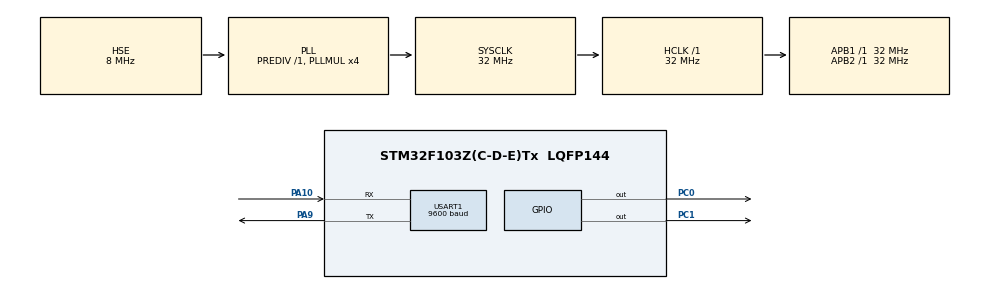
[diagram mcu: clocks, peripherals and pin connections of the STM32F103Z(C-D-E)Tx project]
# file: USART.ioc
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Mcu.Family=STM32F1
Mcu.Name=STM32F103Z(C-D-E)Tx
Mcu.Package=LQFP144
NVIC.PriorityGroup=NVIC_PRIORITYGROUP_4
NVIC.USART1_IRQn=true\:0\:0\:false\:false\:true\:true\:true
OSC_IN.Mode=HSE-External-Oscillator
OSC_IN.Signal=RCC_OSC_IN
OSC_OUT.Mode=HSE-External-Oscillator
OSC_OUT.Signal=RCC_OSC_OUT
PA10.Mode=Asynchronous
PA10.Signal=USART1_RX
PA13.Mode=Serial_Wire
PA13.Signal=SYS_JTMS-SWDIO
PA14.Mode=Serial_Wire
PA14.Signal=SYS_JTCK-SWCLK
PA9.Mode=Asynchronous
PA9.Signal=USART1_TX
PC0.Signal=GPIO_Output
PC1.Signal=GPIO_Output
PC14-OSC32_IN.Mode=LSE-External-Oscillator
PC14-OSC32_IN.Signal=RCC_OSC32_IN
PC15-OSC32_OUT.Mode=LSE-External-Oscillator
PC15-OSC32_OUT.Signal=RCC_OSC32_OUT
ProjectManager.HeapSize=0x200
ProjectManager.StackSize=0x400
ProjectManager.TargetToolchain=MDK-ARM V5.27
RCC.AHBFreq_Value=32000000
RCC.APB1Freq_Value=32000000
RCC.APB1TimFreq_Value=32000000
RCC.APB2Freq_Value=32000000
RCC.APB2TimFreq_Value=32000000
RCC.HCLKFreq_Value=32000000
RCC.PLLMUL=RCC_PLL_MUL4
RCC.PLLSourceVirtual=RCC_PLLSOURCE_HSE
RCC.SYSCLKFreq_VALUE=32000000
RCC.SYSCLKSource=RCC_SYSCLKSOURCE_PLLCLK
RCC.USBFreq_Value=32000000
USART1.BaudRate=9600
USART1.VirtualMode=VM_ASYNC
board=custom

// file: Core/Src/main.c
/* USER CODE BEGIN Header */
/**
  ******************************************************************************
  * @file           : main.c
  * @brief          : Main program body
  ******************************************************************************
  * @attention
  *
  * <h2><center>&copy; Copyright (c) 2020 STMicroelectronics.
  * All rights reserved.</center></h2>
  *
  * This software component is licensed by ST under BSD 3-Clause license,
  * the "License"; You may not use this file except in compliance with the
  * License. You may obtain a copy of the License at:
  *                        opensource.org/licenses/BSD-3-Clause
  *
  ******************************************************************************
  */
/* USER CODE END Header */
#include "main.h"
#include "usart.h"
#include "gpio.h"

/* USER CODE BEGIN Includes */
#define led1_on() HAL_GPIO_WritePin(GPIOC,GPIO_PIN_0,GPIO_PIN_RESET)
#define led1_off() HAL_GPIO_WritePin(GPIOC,GPIO_PIN_0,GPIO_PIN_SET)
#define led2_on() HAL_GPIO_WritePin(GPIOC,GPIO_PIN_1,GPIO_PIN_RESET)
#define led2_off() HAL_GPIO_WritePin(GPIOC,GPIO_PIN_1,GPIO_PIN_SET)

uint8_t tx_str1[]="hello world!\r\n";
uint8_t tx_str2[]="led open!\r\n";
uint8_t tx_str3[]="led off!\r\n";
uint8_t rx_dat=0;
/* USER CODE END Includes */

void SystemClock_Config(void);

/* USER CODE BEGIN 0 */
void HAL_UART_RxCpltCallback(UART_HandleTypeDef *huart)
{
    if(huart->Instance == USART1)
    {
        if(rx_dat == 0xa1)
        {
            led1_on();

          led2_on();
	    HAL_UART_Transmit(&huart1,tx_str2,sizeof(tx_str2),10000);
	    led2_off();
	    HAL_UART_Receive_IT(&huart1,&rx_dat,1);
        }
        else if(rx_dat == 0xa2)
        {
	    led1_off();

	    led2_on();
	    HAL_UART_Transmit(&huart1,tx_str3,sizeof(tx_str3),10000);
	    led2_off();
	    HAL_UART_Receive_IT(&huart1,&rx_dat,1);
        }
    }
}
/* USER CODE END 0 */

int main(void)
{

  /* MCU Configuration--------------------------------------------------------*/

  /* Reset of all peripherals, Initializes the Flash interface and the Systick. */
  HAL_Init();

  /* Configure the system clock */
  SystemClock_Config();

  /* Initialize all configured peripherals */
  MX_GPIO_Init();
  MX_USART1_UART_Init();
  /* USER CODE BEGIN 2 */
	led1_on();
	HAL_UART_Transmit(&huart1,tx_str1,sizeof(tx_str1),10000);
	led1_off();
	HAL_UART_Receive_IT(&huart1,&rx_dat,1);
  /* USER CODE END 2 */

  /* Infinite loop */
  while (1)
  {

  }
}

void SystemClock_Config(void)
{
  RCC_OscInitTypeDef RCC_OscInitStruct = {0};
  RCC_ClkInitTypeDef RCC_ClkInitStruct = {0};

  /** Initializes the RCC Oscillators according to the specified parameters
  * in the RCC_OscInitTypeDef structure.
  */
  RCC_OscInitStruct.OscillatorType = RCC_OSCILLATORTYPE_HSE;
  RCC_OscInitStruct.HSEState = RCC_HSE_ON;
  RCC_OscInitStruct.HSEPredivValue = RCC_HSE_PREDIV_DIV1;
  RCC_OscInitStruct.HSIState = RCC_HSI_ON;
  RCC_OscInitStruct.PLL.PLLState = RCC_PLL_ON;
  RCC_OscInitStruct.PLL.PLLSource = RCC_PLLSOURCE_HSE;
  RCC_OscInitStruct.PLL.PLLMUL = RCC_PLL_MUL4;
  if (HAL_RCC_OscConfig(&RCC_OscInitStruct) != HAL_OK)
  {
    Error_Handler();
  }
  /** Initializes the CPU, AHB and APB buses clocks
  */
  RCC_ClkInitStruct.ClockType = RCC_CLOCKTYPE_HCLK|RCC_CLOCKTYPE_SYSCLK
                              |RCC_CLOCKTYPE_PCLK1|RCC_CLOCKTYPE_PCLK2;
  RCC_ClkInitStruct.SYSCLKSource = RCC_SYSCLKSOURCE_PLLCLK;
  RCC_ClkInitStruct.AHBCLKDivider = RCC_SYSCLK_DIV1;
  RCC_ClkInitStruct.APB1CLKDivider = RCC_HCLK_DIV1;
  RCC_ClkInitStruct.APB2CLKDivider = RCC_HCLK_DIV1;

  if (HAL_RCC_ClockConfig(&RCC_ClkInitStruct, FLASH_LATENCY_1) != HAL_OK)
  {
    Error_Handler();
  }
}

void Error_Handler(void)
{
}

/************************ (C) COPYRIGHT STMicroelectronics *****END OF FILE****/
